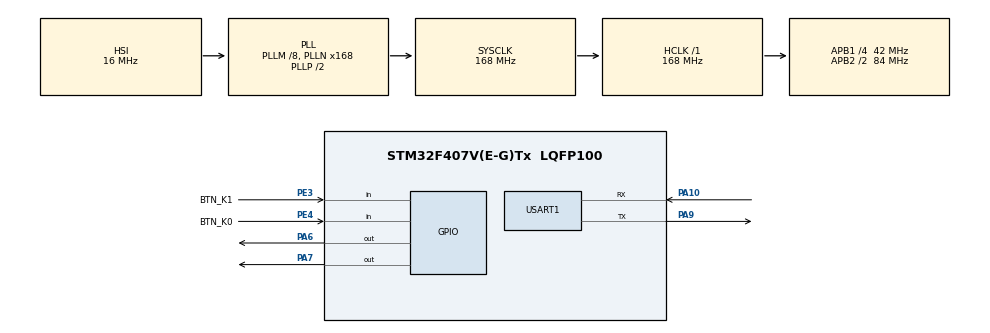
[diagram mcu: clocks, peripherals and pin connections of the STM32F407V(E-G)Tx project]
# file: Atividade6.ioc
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FREERTOS.Mutexes01=contadorMutex,Dynamic,NULL,Available
FREERTOS.Tasks01=Task01,24,128,Task01_fun,Default,NULL,Dynamic,NULL,NULL;Task02,24,128,Task02_fun,Default,NULL,Dynamic,NULL,NULL;TaskUART,8,128,TaskUART_fun,Default,NULL,Dynamic,NULL,NULL
Mcu.Family=STM32F4
Mcu.Name=STM32F407V(E-G)Tx
Mcu.Package=LQFP100
NVIC.PriorityGroup=NVIC_PRIORITYGROUP_4
NVIC.TIM1_UP_TIM10_IRQn=true\:15\:0\:false\:false\:true\:false\:false\:true\:true
NVIC.TimeBase=TIM1_UP_TIM10_IRQn
NVIC.TimeBaseIP=TIM1
PA10.Mode=Asynchronous
PA10.Signal=USART1_RX
PA6.Signal=GPIO_Output
PA7.Signal=GPIO_Output
PA9.Mode=Asynchronous
PA9.Signal=USART1_TX
PE3.GPIO_Label=BTN_K1
PE3.GPIO_PuPd=GPIO_PULLUP
PE3.Signal=GPIO_Input
PE4.GPIO_Label=BTN_K0
PE4.GPIO_PuPd=GPIO_PULLUP
PE4.Signal=GPIO_Input
ProjectManager.HeapSize=0x200
ProjectManager.StackSize=0x400
ProjectManager.TargetToolchain=STM32CubeIDE
RCC.48MHZClocksFreq_Value=84000000
RCC.AHBFreq_Value=168000000
RCC.APB1CLKDivider=RCC_HCLK_DIV4
RCC.APB1Freq_Value=42000000
RCC.APB1TimFreq_Value=84000000
RCC.APB2CLKDivider=RCC_HCLK_DIV2
RCC.APB2Freq_Value=84000000
RCC.APB2TimFreq_Value=168000000
RCC.CortexFreq_Value=168000000
RCC.HCLKFreq_Value=168000000
RCC.HSE_VALUE=25000000
RCC.HSI_VALUE=16000000
RCC.LSE_VALUE=32768
RCC.PLLM=8
RCC.PLLN=168
RCC.SYSCLKFreq_VALUE=168000000
RCC.SYSCLKSource=RCC_SYSCLKSOURCE_PLLCLK
RCC.VCOOutputFreq_Value=336000000
USART1.VirtualMode=VM_ASYNC
VP_FREERTOS_VS_CMSIS_V2.Mode=CMSIS_V2
VP_SYS_VS_tim1.Mode=TIM1
board=custom

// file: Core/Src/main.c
/* USER CODE BEGIN Header */
/**
  ******************************************************************************
  * @file           : main.c
  * @brief          : Main program body
  ******************************************************************************
  * @attention
  *
  * Copyright (c) 2026 STMicroelectronics.
  * All rights reserved.
  *
  * This software is licensed under terms that can be found in the LICENSE file
  * in the root directory of this software component.
  * If no LICENSE file comes with this software, it is provided AS-IS.
  *
  ******************************************************************************
  */
/* USER CODE END Header */
#include "main.h"
#include "cmsis_os.h"

/* USER CODE BEGIN Includes */
#include <stdio.h>
/* USER CODE END Includes */

UART_HandleTypeDef huart1;

/* Definitions for Task01 */
osThreadId_t Task01Handle;
const osThreadAttr_t Task01_attributes = {
  .name = "Task01",
  .stack_size = 128 * 4,
  .priority = (osPriority_t) osPriorityNormal,
};
/* Definitions for Task02 */
osThreadId_t Task02Handle;
const osThreadAttr_t Task02_attributes = {
  .name = "Task02",
  .stack_size = 128 * 4,
  .priority = (osPriority_t) osPriorityNormal,
};
/* Definitions for TaskUART */
osThreadId_t TaskUARTHandle;
const osThreadAttr_t TaskUART_attributes = {
  .name = "TaskUART",
  .stack_size = 128 * 4,
  .priority = (osPriority_t) osPriorityLow,
};
/* Definitions for contadorMutex */
osMutexId_t contadorMutexHandle;
const osMutexAttr_t contadorMutex_attributes = {
  .name = "contadorMutex"
};

void SystemClock_Config(void);
static void MX_GPIO_Init(void);
static void MX_USART1_UART_Init(void);
void Task01_fun(void *argument);
void Task02_fun(void *argument);
void TaskUART_fun(void *argument);

/* USER CODE BEGIN 0 */
volatile uint32_t contadorGlobal = 0;

/* USER CODE END 0 */

int main(void)
{

  /* MCU Configuration--------------------------------------------------------*/

  /* Reset of all peripherals, Initializes the Flash interface and the Systick. */
  HAL_Init();

  /* Configure the system clock */
  SystemClock_Config();

  /* Initialize all configured peripherals */
  MX_GPIO_Init();
  MX_USART1_UART_Init();

  /* Init scheduler */
  osKernelInitialize();
  /* Create the mutex(es) */
  /* creation of contadorMutex */
  contadorMutexHandle = osMutexNew(&contadorMutex_attributes);

  /* Create the thread(s) */
  /* creation of Task01 */
  Task01Handle = osThreadNew(Task01_fun, NULL, &Task01_attributes);

  /* creation of Task02 */
  Task02Handle = osThreadNew(Task02_fun, NULL, &Task02_attributes);

  /* creation of TaskUART */
  TaskUARTHandle = osThreadNew(TaskUART_fun, NULL, &TaskUART_attributes);

  /* Start scheduler */
  osKernelStart();

  /* We should never get here as control is now taken by the scheduler */

  /* Infinite loop */
  while (1)
  {

  }
}

void SystemClock_Config(void)
{
  RCC_OscInitTypeDef RCC_OscInitStruct = {0};
  RCC_ClkInitTypeDef RCC_ClkInitStruct = {0};

  /** Configure the main internal regulator output voltage
  */
  __HAL_RCC_PWR_CLK_ENABLE();
  __HAL_PWR_VOLTAGESCALING_CONFIG(PWR_REGULATOR_VOLTAGE_SCALE1);

  /** Initializes the RCC Oscillators according to the specified parameters
  * in the RCC_OscInitTypeDef structure.
  */
  RCC_OscInitStruct.OscillatorType = RCC_OSCILLATORTYPE_HSI;
  RCC_OscInitStruct.HSIState = RCC_HSI_ON;
  RCC_OscInitStruct.HSICalibrationValue = RCC_HSICALIBRATION_DEFAULT;
  RCC_OscInitStruct.PLL.PLLState = RCC_PLL_ON;
  RCC_OscInitStruct.PLL.PLLSource = RCC_PLLSOURCE_HSI;
  RCC_OscInitStruct.PLL.PLLM = 8;
  RCC_OscInitStruct.PLL.PLLN = 168;
  RCC_OscInitStruct.PLL.PLLP = RCC_PLLP_DIV2;
  RCC_OscInitStruct.PLL.PLLQ = 4;
  if (HAL_RCC_OscConfig(&RCC_OscInitStruct) != HAL_OK)
  {
    Error_Handler();
  }

  /** Initializes the CPU, AHB and APB buses clocks
  */
  RCC_ClkInitStruct.ClockType = RCC_CLOCKTYPE_HCLK|RCC_CLOCKTYPE_SYSCLK
                              |RCC_CLOCKTYPE_PCLK1|RCC_CLOCKTYPE_PCLK2;
  RCC_ClkInitStruct.SYSCLKSource = RCC_SYSCLKSOURCE_PLLCLK;
  RCC_ClkInitStruct.AHBCLKDivider = RCC_SYSCLK_DIV1;
  RCC_ClkInitStruct.APB1CLKDivider = RCC_HCLK_DIV4;
  RCC_ClkInitStruct.APB2CLKDivider = RCC_HCLK_DIV2;

  if (HAL_RCC_ClockConfig(&RCC_ClkInitStruct, FLASH_LATENCY_5) != HAL_OK)
  {
    Error_Handler();
  }
}

static void MX_USART1_UART_Init(void)
{

  huart1.Instance = USART1;
  huart1.Init.BaudRate = 115200;
  huart1.Init.WordLength = UART_WORDLENGTH_8B;
  huart1.Init.StopBits = UART_STOPBITS_1;
  huart1.Init.Parity = UART_PARITY_NONE;
  huart1.Init.Mode = UART_MODE_TX_RX;
  huart1.Init.HwFlowCtl = UART_HWCONTROL_NONE;
  huart1.Init.OverSampling = UART_OVERSAMPLING_16;
  if (HAL_UART_Init(&huart1) != HAL_OK)
  {
    Error_Handler();
  }

}

static void MX_GPIO_Init(void)
{
  GPIO_InitTypeDef GPIO_InitStruct = {0};

  /* GPIO Ports Clock Enable */
  __HAL_RCC_GPIOE_CLK_ENABLE();
  __HAL_RCC_GPIOA_CLK_ENABLE();

  /*Configure GPIO pin Output Level */
  HAL_GPIO_WritePin(GPIOA, GPIO_PIN_6|GPIO_PIN_7, GPIO_PIN_RESET);

  /*Configure GPIO pins : BTN_K1_Pin BTN_K0_Pin */
  GPIO_InitStruct.Pin = BTN_K1_Pin|BTN_K0_Pin;
  GPIO_InitStruct.Mode = GPIO_MODE_INPUT;
  GPIO_InitStruct.Pull = GPIO_PULLUP;
  HAL_GPIO_Init(GPIOE, &GPIO_InitStruct);

  /*Configure GPIO pins : PA6 PA7 */
  GPIO_InitStruct.Pin = GPIO_PIN_6|GPIO_PIN_7;
  GPIO_InitStruct.Mode = GPIO_MODE_OUTPUT_PP;
  GPIO_InitStruct.Pull = GPIO_NOPULL;
  GPIO_InitStruct.Speed = GPIO_SPEED_FREQ_LOW;
  HAL_GPIO_Init(GPIOA, &GPIO_InitStruct);

}

/* USER CODE BEGIN 4 */
int _write(int file, char *ptr, int len) {
    // Transmite os dados recebidos pelo printf via UART
    HAL_UART_Transmit(&huart1, (uint8_t*)ptr, len, HAL_MAX_DELAY);
    return len;
}
/* USER CODE END 4 */

void Task01_fun(void *argument)
{
  /* USER CODE BEGIN 5 */
  for(int i = 0; i < 100000; i++){
	osMutexAcquire(contadorMutexHandle, osWaitForever);
	contadorGlobal++;
	osMutexRelease(contadorMutexHandle);
  }
  /* Infinite loop */
  for(;;)
  {
    osDelay(1);
  }
  /* USER CODE END 5 */
}

void Task02_fun(void *argument)
{
  /* USER CODE BEGIN Task02_fun */
	for(int i = 0; i < 100000; i++){
		osMutexAcquire(contadorMutexHandle, osWaitForever);
		contadorGlobal++;
		osMutexRelease(contadorMutexHandle);
	}
  /* Infinite loop */
  for(;;)
  {
    osDelay(1);
  }
  /* USER CODE END Task02_fun */
}

void TaskUART_fun(void *argument)
{
  /* USER CODE BEGIN TaskUART_fun */
	osDelay(1000);
	printf("%lu\r\n", contadorGlobal);
  /* Infinite loop */
  for(;;)
  {
    osDelay(1);
  }
  /* USER CODE END TaskUART_fun */
}

void HAL_TIM_PeriodElapsedCallback(TIM_HandleTypeDef *htim)
{
  if (htim->Instance == TIM1)
  {
    HAL_IncTick();
  }
}

void Error_Handler(void)
{
  __disable_irq();
  while (1)
  {
  }
}
